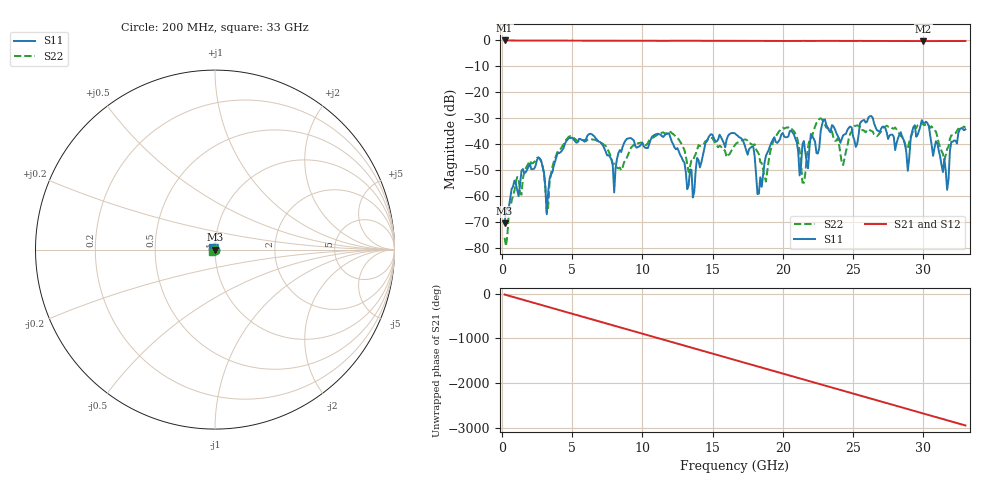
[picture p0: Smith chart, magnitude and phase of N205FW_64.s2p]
# GHZ S RI R 50
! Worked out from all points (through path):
!   329 points, 200 MHz to 33 GHz, reference 50 ohm
!   highest |S21| = -0.02 dB at 200 MHz (marker M1); lowest = -0.3 dB at 30 GHz (marker M2)
!   group delay of S21, straight-line fit = 248 ps
!   lowest |S11| = -70.6 dB at 200 MHz (marker M3), VSWR 1.00, Z = 50 + j0.0079 ohm
!   |S11| at or under -10 dB: start of sweep to end of sweep
!   |S22| runs from -79.4 to -30.0 dB; largest |S21 - S12| = 0.0022
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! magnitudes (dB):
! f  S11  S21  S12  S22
! 200 MHz  -70.6  0.0  0.0  -76.2
! 2 GHz  -47.7  -0.1  -0.1  -46.4
! 2.8 GHz  -46.4  -0.1  -0.1  -46.8
! 3.2 GHz  -67.1  -0.1  -0.1  -66.4
! 4 GHz  -43.3  -0.1  -0.1  -42.7
! 5.7 GHz  -38.5  -0.1  -0.1  -38.6
! 8 GHz  -58.7  -0.1  -0.1  -47.6
! 8.9 GHz  -38.0  -0.1  -0.1  -45.3
! 11.2 GHz  -36.2  -0.2  -0.2  -36.0
! 13.6 GHz  -60.7  -0.1  -0.1  -46.5
! 14.8 GHz  -36.7  -0.2  -0.2  -37.5
! 16.6 GHz  -35.9  -0.2  -0.2  -40.4
! 18.2 GHz  -59.3  -0.2  -0.2  -43.0
! 20.5 GHz  -35.0  -0.2  -0.2  -33.3
! 21.2 GHz  -52.1  -0.2  -0.2  -42.5
! 21.5 GHz  -38.8  -0.2  -0.2  -55.0
! 22.1 GHz  -37.0  -0.2  -0.2  -36.9
! 27.6 GHz  -36.7  -0.3  -0.3  -33.4
! 28.9 GHz  -50.4  -0.3  -0.3  -41.6
! 30 GHz  -31.8  -0.3  -0.3  -32.5
! 31.7 GHz  -57.7  -0.2  -0.2  -41.9
! 33 GHz  -34.3  -0.2  -0.2  -33.7
